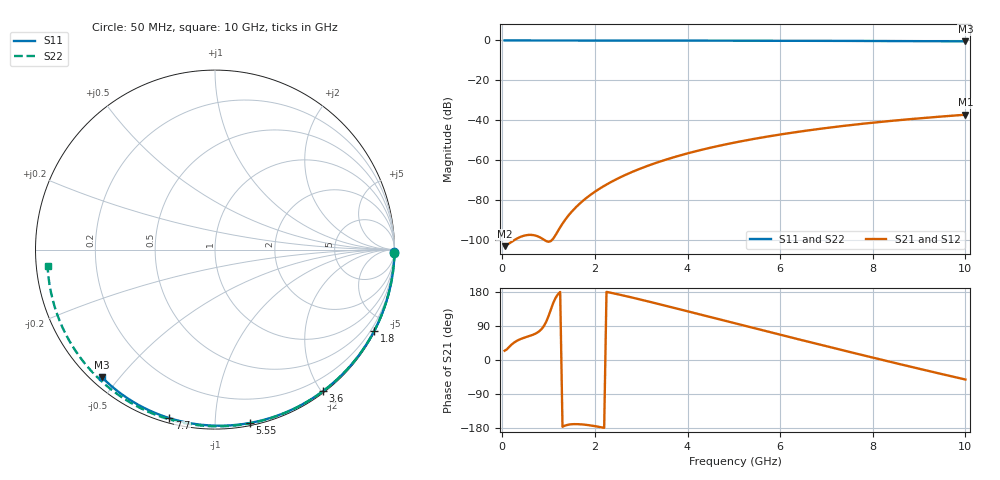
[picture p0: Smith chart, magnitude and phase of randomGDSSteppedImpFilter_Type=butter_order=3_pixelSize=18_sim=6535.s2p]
! freq	dB(S11)	phase(S11)	dB(S12)	phase(S12)
!  dB(S21)	phase(S21)	dB(S22)	phase(S22)
!S-par simulation data
#  GHz  S  DB  R 50
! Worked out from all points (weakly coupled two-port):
!   200 points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, 50 MHz to 10 GHz, reference 50 ohm
!   highest |S21| = -37.16 dB at 10 GHz (marker M1); lowest = -103.0 dB at 50 MHz (marker M2)
!   lowest |S11| = -0.4 dB at 10 GHz (marker M3), VSWR 38.94, Z = 1.54 - j22.5 ohm
!   |S11| at or under -10 dB: nowhere
!   |S22| runs from -0.6 to 0.0 dB; largest |S21 - S12| = 0
!   S11 on the Smith chart (normalised r, x): 50 MHz: open; 1.8 GHz: 0.04, -4.17; 3.6 GHz: 0.02, -2.02; 5.55 GHz: 0.02, -1.22; 7.7 GHz: 0.02, -0.77; 10 GHz: 0.03, -0.45
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0.05  -0.00 -0.8  -102.96 24.6  -102.96 24.6  -0.00 -1.0
0.45  -0.01 -6.8  -97.84 57.9  -97.84 57.9  -0.01 -9.1
0.85  -0.02 -12.9  -99.02 81.9  -99.02 81.9  -0.02 -17.0
1.3  -0.02 -19.6  -91.70 -176.2  -91.70 -176.2  -0.03 -25.9
1.75  -0.03 -26.2  -80.08 -170.3  -80.08 -170.3  -0.04 -34.7
1.8  -0.03 -27.0  -79.13 -171.0  -79.13 -171.0  -0.05 -35.6
1.95  -0.04 -29.2  -76.52 -173.5  -76.52 -173.5  -0.05 -38.5
2.1  -0.04 -31.3  -74.20 -176.7  -74.20 -176.7  -0.05 -41.4
2.3  -0.04 -34.3  -71.46 178.5  -71.46 178.5  -0.06 -45.2
2.5  -0.05 -37.1  -69.04 173.3  -69.04 173.3  -0.06 -49.0
2.9  -0.06 -42.9  -64.89 162.0  -64.89 162.0  -0.07 -56.4
3.4  -0.07 -49.9  -60.65 147.0  -60.65 147.0  -0.09 -65.6
3.6  -0.07 -52.7  -59.17 140.9  -59.17 140.9  -0.09 -69.2
4.3  -0.09 -62.3  -54.75 119.2  -54.75 119.2  -0.12 -81.5
5.05  -0.11 -72.3  -50.95 96.0  -50.95 96.0  -0.14 -94.3
5.55  -0.13 -78.7  -48.80 80.6  -48.80 80.6  -0.17 -102.6
6.1  -0.15 -85.7  -46.72 63.7  -46.72 63.7  -0.20 -111.6
6.7  -0.18 -93.1  -44.72 45.4  -44.72 45.4  -0.24 -121.2
7.7  -0.24 -105.1  -41.90 15.3  -41.90 15.3  -0.31 -137.1
8.35  -0.29 -112.7  -40.36 -4.1  -40.36 -4.1  -0.37 -147.4
9.2  -0.36 -122.5  -38.61 -28.8  -38.61 -28.8  -0.47 -161.1
10  -0.45 -131.5  -37.16 -51.5  -37.16 -51.5  -0.56 -174.4
